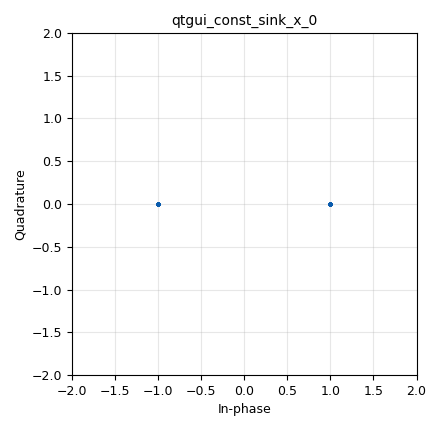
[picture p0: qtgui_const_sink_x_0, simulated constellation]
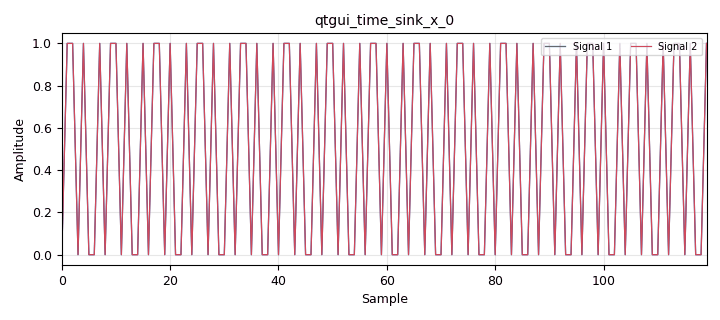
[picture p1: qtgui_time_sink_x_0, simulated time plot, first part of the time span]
options:
  parameters:
    author: Josh Morman
    description: Adapted from GNU Radio's own example (gr-digital/examples/demod/constellation_encode_decode.grc). The random payload is a fixed repeating pattern.
    generate_options: qt_gui
    id: constellation_encode_decode
    output_language: python
    title: Constellation Encoder and Decoder
  states: {}

blocks:
- name: blocks_char_to_float_0
  id: blocks_char_to_float
  parameters:
    scale: '1'
  states: {}
- name: blocks_char_to_float_0_0
  id: blocks_char_to_float
  parameters:
    scale: '1'
  states: {}
- name: blocks_throttle2_0
  id: blocks_throttle2
  parameters:
    samples_per_second: samp_rate
    type: byte
  states: {}
- name: blocks_vector_source_x_0_0
  id: blocks_vector_source_x
  parameters:
    repeat: 'True'
    type: byte
    vector: data
  states: {}
- name: constel
  id: variable_constellation
  parameters:
    const_points: '[1,-1]'
    precision: '8'
    rot_sym: '2'
    sym_map: '[0,1]'
    type: bpsk
  states: {}
- name: data
  id: variable
  parameters:
    value: '[0, 1, 1, 0, 1, 0, 0, 1] * 125'
  states: {}
- name: data_size
  id: variable
  parameters:
    value: '1000'
  states: {}
- name: digital_constellation_decoder_cb_0
  id: digital_constellation_decoder_cb
  parameters:
    constellation: constel
  states: {}
- name: digital_constellation_encoder_bc_0
  id: digital_constellation_encoder_bc
  parameters:
    constellation: constel
  states: {}
- name: mod_order
  id: variable
  parameters:
    value: '2'
  states: {}
- name: qtgui_const_sink_x_0
  id: qtgui_const_sink_x
  parameters:
    size: '1024'
    type: complex
  states: {}
- name: qtgui_time_sink_x_0
  id: qtgui_time_sink_x
  parameters:
    autoscale: 'True'
    nconnections: '2'
    size: '1024'
    type: float
    samp_rate: '1'
  states: {}
- name: samp_rate
  id: variable
  parameters:
    value: '32000'
  states: {}

connections:
- [blocks_char_to_float_0, '0', qtgui_time_sink_x_0, '0']
- [blocks_char_to_float_0_0, '0', qtgui_time_sink_x_0, '1']
- [blocks_throttle2_0, '0', blocks_char_to_float_0, '0']
- [blocks_throttle2_0, '0', digital_constellation_encoder_bc_0, '0']
- [blocks_vector_source_x_0_0, '0', blocks_throttle2_0, '0']
- [digital_constellation_decoder_cb_0, '0', blocks_char_to_float_0_0, '0']
- [digital_constellation_encoder_bc_0, '0', digital_constellation_decoder_cb_0, '0']
- [digital_constellation_encoder_bc_0, '0', qtgui_const_sink_x_0, '0']

metadata:
  file_format: 1
  grc_version: 3.10.10.0
